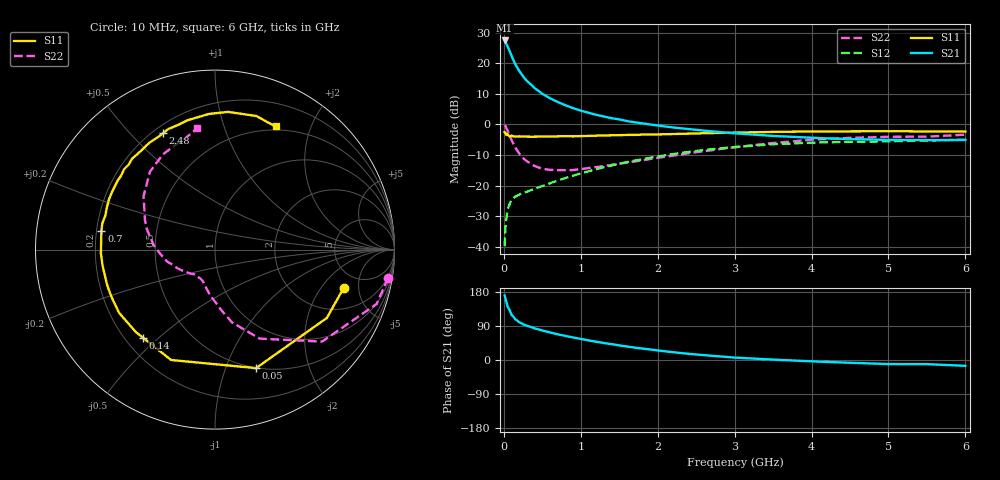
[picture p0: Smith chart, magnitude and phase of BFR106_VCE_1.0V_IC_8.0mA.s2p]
! Infineon Technologies  Discrete & RF Semiconductors
! BFR106
! VCE =  1.0 V,  IC =  8.0 mA
! Common Emitter S-Parameters:  Nov 2015
# GHz  S  MA  R  50
!  f  S11  S21  S12  S22
! GHz  MAG  ANG  MAG  ANG  MAG  ANG  MAG  ANG
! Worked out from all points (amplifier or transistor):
!   210 points, 10 MHz to 6 GHz, reference 50 ohm
!   highest |S21| = 27.5 dB at 10 MHz (marker M1)
!   |S21| within 3 dB of that: start of sweep to 66.37 MHz
!   unconditionally stable (mu >= 1): 495.8 MHz to 2.973 GHz; 3.051 GHz to 3.401 GHz; 3.573 GHz to end of sweep
!   at 185 MHz: K = 0.51, MSG = 20.7 dB, |S12| = -23.1 dB
!   at 1.52 GHz: K = 1.12, MAG = 5.0 dB, |S12| = -12.7 dB
!   at 6 GHz: K = 1.03, MAG = -1.1 dB, |S12| = -5.0 dB
!   S11 on the Smith chart (normalised r, x): 10 MHz: 3.54, -3.40; 50 MHz: 0.50, -1.28; 140 MHz: 0.27, -0.45; 700 MHz: 0.22, +0.08; 2.48 GHz: 0.24, +0.62; 6 GHz: 0.46, +1.51
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0.01  0.7485 -16.4  23.7 170.1  0.0102 84.4  0.9768 -9.3
0.02  0.7304 -31.4  22.91 162.1  0.0198 74.6  0.9502 -18.6
0.05  0.6988 -70.9  18.86 140.2  0.0413 57.6  0.7862 -40.7
0.1  0.6619 -111.7  13.17 119.2  0.0587 43.8  0.5544 -63.4
0.14  0.6341 -129.3  10.27 110.2  0.0645 39.5  0.4415 -73.5
0.15  0.6369 -133.8  9.599 107.1  0.066 38.6  0.4161 -76.9
0.2  0.64 -146.6  7.523 99.9  0.0715 37.8  0.3351 -84.5
0.24  0.6343 -154.0  6.382 95.5  0.0749 38.2  0.291 -90.0
0.3  0.6324 -162.2  5.154 90.1  0.0792 39.6  0.2505 -97.0
0.4  0.6327 -171.9  3.935 83.4  0.0887 43.0  0.2094 -105.3
0.5  0.6361 -178.2  3.175 77.7  0.0982 45.8  0.1881 -111.3
0.6  0.636 175.6  2.681 72.5  0.1091 48.2  0.1809 -116.6
0.7  0.6414 170.7  2.332 67.6  0.1208 50.3  0.1794 -121.8
0.82  0.6435 166.0  2.013 62.7  0.1354 51.6  0.1783 -127.3
1.02  0.6478 157.9  1.656 54.9  0.1609 53.1  0.188 -134.1
1.4  0.6644 144.9  1.266 42.0  0.2132 52.6  0.2189 -148.2
2.02  0.6883 126.5  0.953 24.6  0.3025 46.6  0.2876 -170.3
2.48  0.7099 114.1  0.822 14.9  0.3662 40.0  0.349 173.7
3.1  0.7396 99.9  0.703 5.4  0.4367 29.6  0.4355 154.1
4.1  0.7701 83.3  0.599 -4.3  0.5072 13.3  0.5712 127.6
5.1  0.7763 71.7  0.558 -10.7  0.5326 0.5  0.6295 108.7
6  0.766 63.7  0.558 -15.4  0.5631 -8.6  0.6822 98.4
